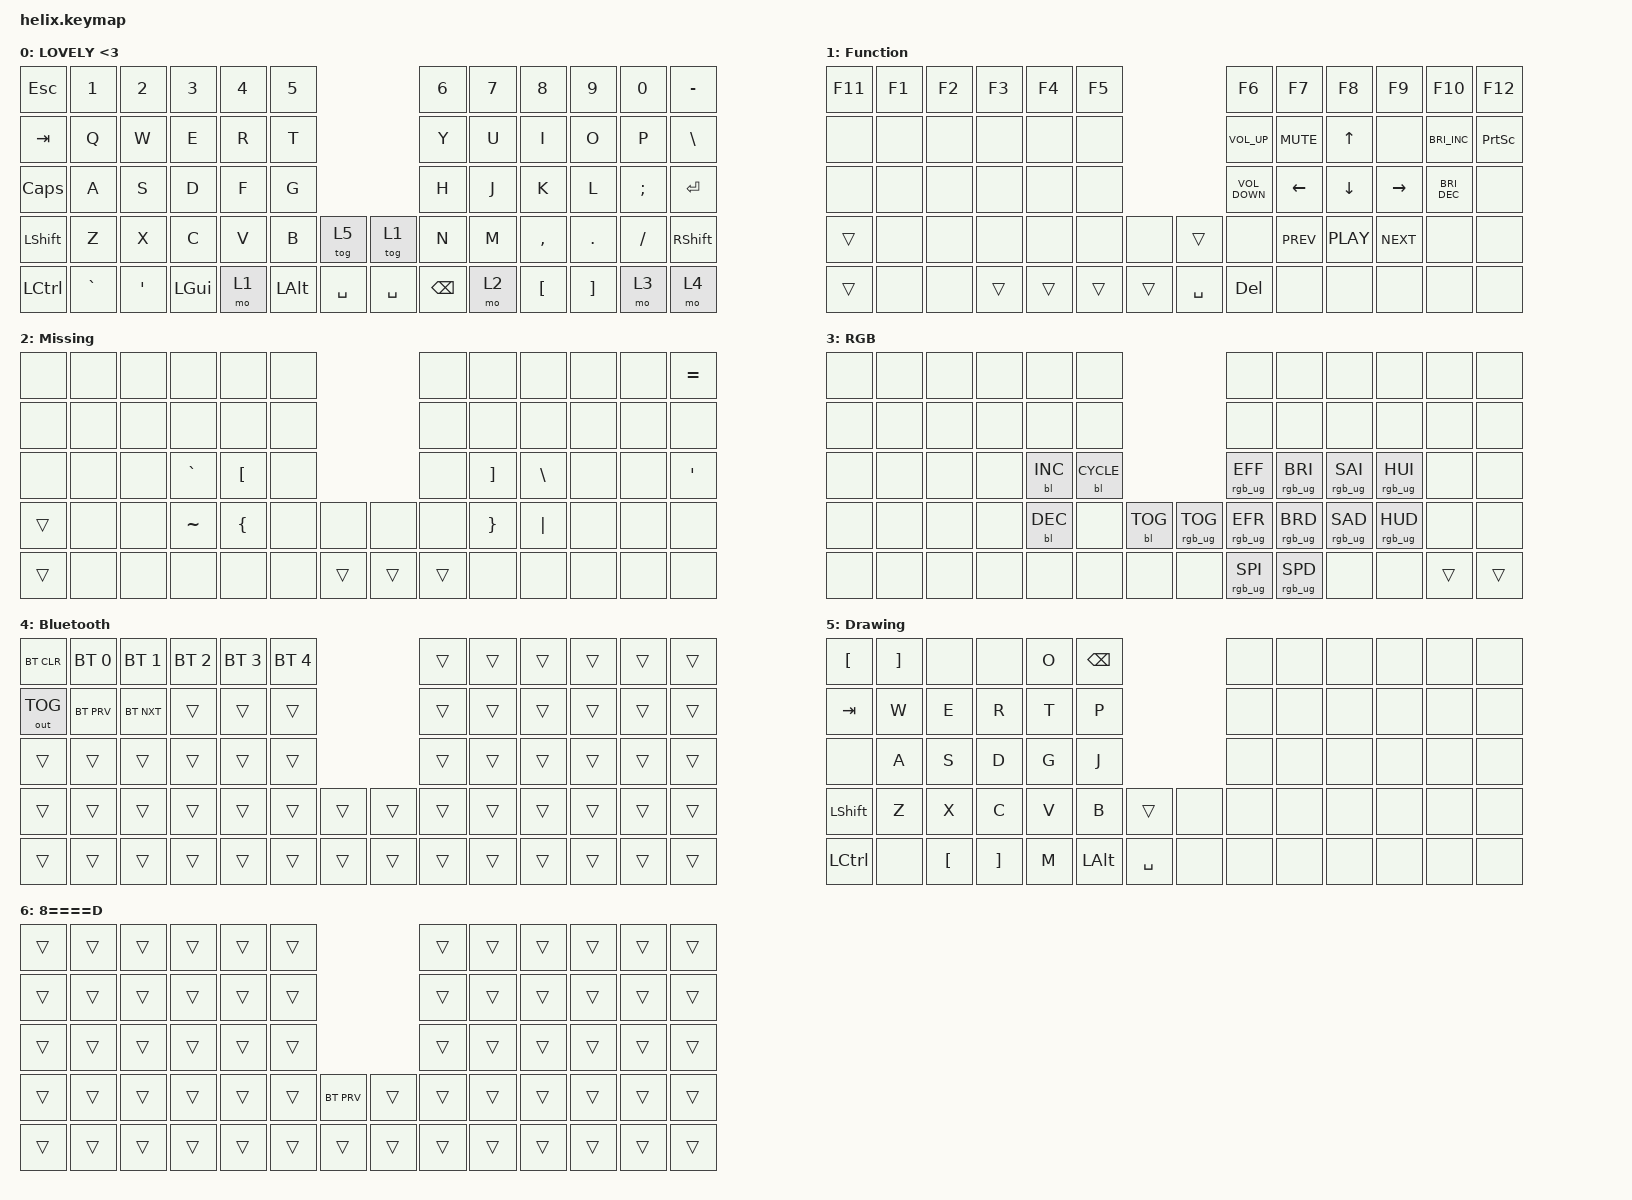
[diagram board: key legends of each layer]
/*
 * Copyright (c) 2020 The ZMK Contributors
 *
 * SPDX-License-Identifier: MIT
 */

#define ZMK_BEHAVIORS_OMIT_KT

#include <behaviors.dtsi>
#include <dt-bindings/zmk/backlight.h>
#include <dt-bindings/zmk/bt.h>
#include <dt-bindings/zmk/keys.h>
#include <dt-bindings/zmk/outputs.h>
#include <dt-bindings/zmk/rgb.h>

/* NOTE: At the time of the creation of this keymap, there are no specified codes for 'eisuu' and 'kana' input in ZMK.
However, 'LANG1' and 'LANG2' are fully-functioning candidates for 'kana' and 'eisuu' input respectively.
As such, those are in use within the default layer at this time.*/

/ {
    keymap {
        compatible = "zmk,keymap";

        default_layer {
            display-name = "LOVELY <3";
            bindings = <
&kp ESCAPE        &kp NUMBER_1  &kp N2   &kp N3    &kp N4  &kp N5                                &kp N6         &kp N7  &kp N8            &kp N9             &kp N0     &kp MINUS
&kp TAB           &kp Q         &kp W    &kp E     &kp R   &kp T                                 &kp Y          &kp U   &kp I             &kp O              &kp P      &kp BACKSLASH
&kp CAPSLOCK      &kp A         &kp S    &kp D     &kp F   &kp G                                 &kp H          &kp J   &kp K             &kp L              &kp SEMI   &kp ENTER
&kp LSHFT         &kp Z         &kp X    &kp C     &kp V   &kp B         &tog 5       &tog 1     &kp N          &kp M   &kp COMMA         &kp PERIOD         &kp SLASH  &kp RIGHT_SHIFT
&kp LEFT_CONTROL  &kp GRAVE     &kp SQT  &kp LGUI  &mo 1   &kp LEFT_ALT  &kp SPACE    &kp SPACE  &kp BACKSPACE  &mo 2   &kp LEFT_BRACKET  &kp RIGHT_BRACKET  &mo 3      &mo 4
            >;
        };

        Audio_And_Function {
            display-name = "Function";
            bindings = <
&kp F11  &kp F1  &kp F2  &kp F3  &kp F4  &kp F5                       &kp F6             &kp F7      &kp F8      &kp F9      &kp F10               &kp F12
&none    &none   &none   &none   &none   &none                        &kp C_VOLUME_UP    &kp K_MUTE  &kp UP      &none       &kp C_BRIGHTNESS_INC  &kp PRINTSCREEN
&none    &none   &none   &none   &none   &none                        &kp C_VOLUME_DOWN  &kp LEFT    &kp DOWN    &kp RIGHT   &kp C_BRIGHTNESS_DEC  &none
&trans   &none   &none   &none   &none   &none   &none     &trans     &none              &kp C_PREV  &kp C_PLAY  &kp C_NEXT  &none                 &none
&trans   &none   &none   &trans  &trans  &trans  &trans    &kp SPACE  &kp DEL            &none       &none       &none       &none                 &none
            >;
        };

        Missing {
            display-name = "Missing";
            bindings = <
&none   &none  &none  &none      &none           &none                    &none   &none            &none     &none  &none  &kp EQUAL
&none   &none  &none  &none      &none           &none                    &none   &none            &none     &none  &none  &none
&none   &none  &none  &kp GRAVE  &kp LBKT        &none                    &none   &kp RBKT         &kp BSLH  &none  &none  &kp SQT
&trans  &none  &none  &kp TILDE  &kp LEFT_BRACE  &none  &none     &none   &none   &kp RIGHT_BRACE  &kp PIPE  &none  &none  &none
&trans  &none  &none  &none      &none           &none  &trans    &trans  &trans  &none            &none     &none  &none  &none
            >;
        };

        RGB {
            display-name = "RGB";
            bindings = <
&none  &none  &none  &none  &none       &none                                        &none            &none            &none            &none            &none   &none
&none  &none  &none  &none  &none       &none                                        &none            &none            &none            &none            &none   &none
&none  &none  &none  &none  &bl BL_INC  &bl BL_CYCLE                                 &rgb_ug RGB_EFF  &rgb_ug RGB_BRI  &rgb_ug RGB_SAI  &rgb_ug RGB_HUI  &none   &none
&none  &none  &none  &none  &bl BL_DEC  &none         &bl BL_TOG    &rgb_ug RGB_TOG  &rgb_ug RGB_EFR  &rgb_ug RGB_BRD  &rgb_ug RGB_SAD  &rgb_ug RGB_HUD  &none   &none
&none  &none  &none  &none  &none       &none         &none         &none            &rgb_ug RGB_SPI  &rgb_ug RGB_SPD  &none            &none            &trans  &trans
            >;
        };

        Bluetooth {
            display-name = "Bluetooth";
            bindings = <
&bt BT_CLR    &bt BT_SEL 0  &bt BT_SEL 1  &bt BT_SEL 2  &bt BT_SEL 3  &bt BT_SEL 4                    &trans  &trans  &trans  &trans  &trans  &trans
&out OUT_TOG  &bt BT_PRV    &bt BT_NXT    &trans        &trans        &trans                          &trans  &trans  &trans  &trans  &trans  &trans
&trans        &trans        &trans        &trans        &trans        &trans                          &trans  &trans  &trans  &trans  &trans  &trans
&trans        &trans        &trans        &trans        &trans        &trans        &trans    &trans  &trans  &trans  &trans  &trans  &trans  &trans
&trans        &trans        &trans        &trans        &trans        &trans        &trans    &trans  &trans  &trans  &trans  &trans  &trans  &trans
            >;
        };

        Drawing {
            bindings = <
&kp LBKT   &kp RBKT  &none     &none     &kp O  &kp BACKSPACE                      &none  &none  &none  &none  &none  &none
&kp TAB    &kp W     &kp E     &kp R     &kp T  &kp P                              &none  &none  &none  &none  &none  &none
&none      &kp A     &kp S     &kp D     &kp G  &kp J                              &none  &none  &none  &none  &none  &none
&kp LSHFT  &kp Z     &kp X     &kp C     &kp V  &kp B          &trans       &none  &none  &none  &none  &none  &none  &none
&kp LCTRL  &none     &kp LBKT  &kp RBKT  &kp M  &kp LALT       &kp SPACE    &none  &none  &none  &none  &none  &none  &none
            >;

            label = "Drawing";
        };

        Easter {
            display-name = "8====D";
            bindings = <
&trans  &trans  &trans  &trans  &trans  &trans                        &trans  &trans  &trans  &trans  &trans  &trans
&trans  &trans  &trans  &trans  &trans  &trans                        &trans  &trans  &trans  &trans  &trans  &trans
&trans  &trans  &trans  &trans  &trans  &trans                        &trans  &trans  &trans  &trans  &trans  &trans
&trans  &trans  &trans  &trans  &trans  &trans  &bt BT_PRV    &trans  &trans  &trans  &trans  &trans  &trans  &trans
&trans  &trans  &trans  &trans  &trans  &trans  &trans        &trans  &trans  &trans  &trans  &trans  &trans  &trans
            >;
        };
    };

    conditional_layers {
        compatible = "zmk,conditional-layers";

        tri_layer {
            if-layers = <3 4>;
            then-layer = <6>;
        };
    };
};
